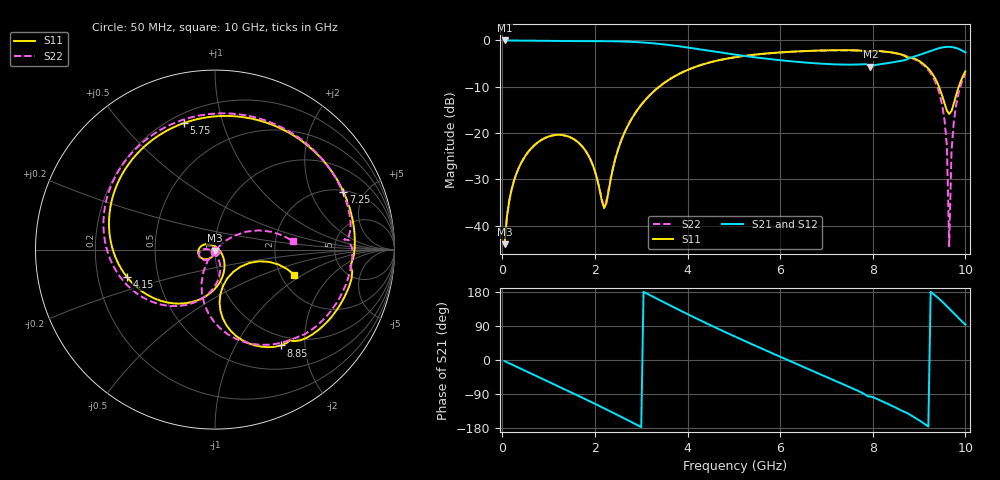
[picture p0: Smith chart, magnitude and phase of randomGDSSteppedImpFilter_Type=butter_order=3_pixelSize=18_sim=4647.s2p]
! freq	dB(S11)	phase(S11)	dB(S12)	phase(S12)
!  dB(S21)	phase(S21)	dB(S22)	phase(S22)
!S-par simulation data
#  GHz  S  DB  R 50
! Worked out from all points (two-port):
!   200 points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, 50 MHz to 10 GHz, reference 50 ohm
!   highest |S21| = 0.00 dB at 50 MHz (marker M1); lowest = -5.6 dB at 7.95 GHz (marker M2)
!   |S21| within 3 dB of the highest: start of sweep to 4.983 GHz; 9.044 GHz to end of sweep
!   lowest |S11| = -44.0 dB at 50 MHz (marker M3), VSWR 1.01, Z = 50 - j0.628 ohm
!   |S11| at or under -10 dB: start of sweep to 3.39 GHz; 9.429 GHz to 9.857 GHz (428.3 MHz wide, 4.44 % of centre)
!   |S22| runs from -44.5 to -2.1 dB; largest |S21 - S12| = 0
!   S11 on the Smith chart (normalised r, x): 50 MHz: 1.00, -0.01; 4.15 GHz: 0.33, -0.14; 5.75 GHz: 0.25, +0.75; 7.25 GHz: 2.07, +3.48; 8.85 GHz: 0.85, -1.56; 10 GHz: 2.37, -0.85
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0.05  -44.02 -93.0  -0.00 -2.9  -0.00 -2.9  -44.02 -92.7
0.2  -32.25 -102.3  -0.02 -11.6  -0.02 -11.6  -32.25 -101.0
0.6  -23.60 -127.2  -0.06 -34.6  -0.06 -34.6  -23.60 -123.1
1.75  -23.19 157.2  -0.14 -100.8  -0.14 -100.8  -23.21 179.9
2.2  -36.26 55.6  -0.15 -127.5  -0.15 -127.5  -35.73 -130.4
2.65  -19.70 -59.1  -0.24 -155.1  -0.24 -155.1  -19.61 -73.7
3.4  -9.92 -113.8  -0.76 157.9  -0.76 157.9  -9.88 -112.3
4.15  -5.79 -162.5  -1.75 112.0  -1.75 112.0  -5.76 -154.6
5.05  -3.59 143.5  -3.10 60.5  -3.10 60.5  -3.58 156.8
5.75  -2.78 103.8  -4.00 22.1  -4.00 22.1  -2.78 120.0
6.7  -2.23 52.6  -4.90 -28.9  -4.90 -28.9  -2.25 69.6
7.25  -2.10 24.3  -5.19 -58.1  -5.19 -58.1  -2.14 39.7
7.95  -2.23 -9.0  -5.64 -96.4  -5.64 -96.4  -2.55 4.1
8.35  -2.51 -30.3  -4.86 -117.2  -4.86 -117.2  -2.56 -21.2
8.85  -3.76 -55.4  -3.63 -147.8  -3.63 -147.8  -3.85 -53.4
9.25  -6.69 -78.9  -2.26 179.8  -2.26 179.8  -7.10 -86.0
9.5  -11.98 -83.3  -1.51 153.8  -1.51 153.8  -14.04 -112.1
9.6  -15.15 -67.1  -1.39 142.0  -1.39 142.0  -22.76 -123.3
9.65  -15.90 -50.3  -1.38 135.9  -1.38 135.9  -44.46 -96.2
9.7  -15.25 -32.8  -1.42 129.6  -1.42 129.6  -23.99 41.6
9.75  -13.64 -20.7  -1.51 123.4  -1.51 123.4  -17.58 36.0
10  -6.68 -17.6  -2.59 93.3  -2.59 93.3  -7.18 6.2
